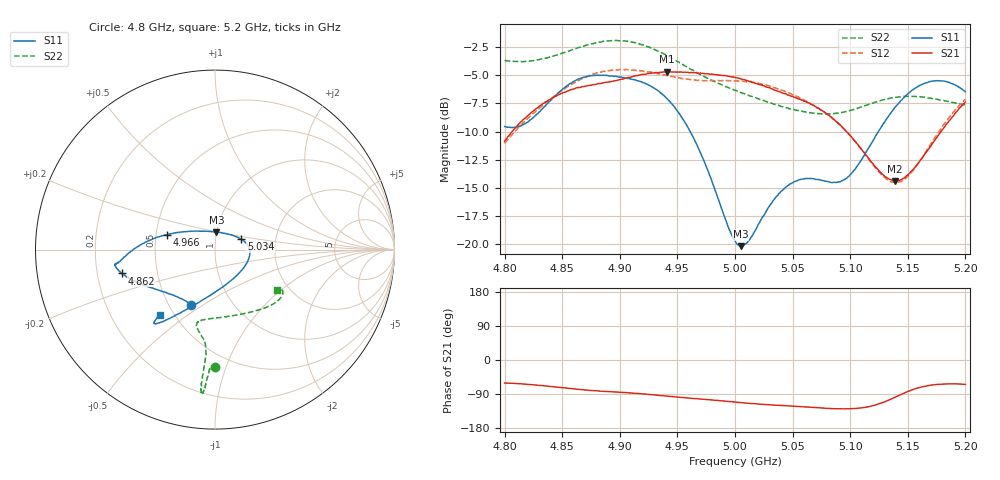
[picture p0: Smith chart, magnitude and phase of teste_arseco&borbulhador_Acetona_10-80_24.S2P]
! Network Analyzer HP8722D
! Hewlett-Packard
! Data name: Linha & Wilkinson
! Saver's name: Rodrigo Anjos
! Comments: Teste da utilização de aquisição
! continua pelo VNA HP8722D
! Time and date: 17/4/2025 14:33
!  Frequency  S11  S21  S12  S22
# HZ  S  MA R 50
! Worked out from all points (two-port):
!   401 points, 4.8 GHz to 5.2 GHz, reference 50 ohm
!   highest |S21| = -4.67 dB at 4.941 GHz (marker M1); lowest = -14.4 dB at 5.139 GHz (marker M2)
!   |S21| within 3 dB of the highest: 4.831 GHz to 5.068 GHz (237 MHz wide, 4.79 % of centre); 5.197188 GHz to end of sweep
!   lowest |S11| = -20.2 dB at 5.005 GHz (marker M3), VSWR 1.22, Z = 49.9 + j9.8 ohm
!   |S11| at or under -10 dB: 4.961 GHz to 5.125 GHz (163.3 MHz wide, 3.24 % of centre)
!   |S22| runs from -8.4 to -1.9 dB; largest |S21 - S12| = 0.87
!   S11 on the Smith chart (normalised r, x): 4.8 GHz: 0.65, -0.45; 4.862 GHz: 0.31, -0.11; 4.966 GHz: 0.57, +0.10; 5.034 GHz: 1.33, +0.16; 5.2 GHz: 0.42, -0.39
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4.8e9  0.3329 -113.2  0.2861 -60.8  0.2804 -175.1  0.6552 -89.9
4.819e9  0.3461 -133.1  0.3676 -63.9  0.3573 -173.5  0.6503 -91.5
4.862e9  0.5352 -165.6  0.4947 -76.9  0.5276 -176.7  0.7409 -93.8
4.867e9  0.5482 -167.5  0.501 -78.4  0.543 -177.7  0.755 -93.9
4.903e9  0.5499 -172.1  0.5415 -85.6  0.5977 175.1  0.8005 -95.5
4.934e9  0.4776 -178.0  0.5795 -93.5  0.5728 171.9  0.7167 -95.6
4.941e9  0.4431 178.9  0.5838 -95.3  0.5616 171.9  0.6901 -95.5
4.966e9  0.2819 162.9  0.5771 -101.9  0.5359 173.8  0.5824 -94.9
5e9  0.1034 102.6  0.5514 -111.0  0.5321 176.1  0.4827 -99.2
5.005e9  0.09769 85.2  0.5423 -112.3  0.5292 176.2  0.4714 -100.4
5.013e9  0.1049 59.5  0.5291 -114.6  0.5245 176.0  0.4549 -102.1
5.034e9  0.1578 21.5  0.4845 -119.0  0.4961 175.0  0.4186 -103.7
5.05e9  0.1873 5.3  0.4542 -121.8  0.4611 174.2  0.3975 -99.7
5.067e9  0.1954 -12.9  0.4159 -124.9  0.4186 173.7  0.3821 -91.0
5.086e9  0.1879 -42.9  0.3583 -128.5  0.3564 173.6  0.3802 -76.6
5.097e9  0.1959 -65.5  0.3152 -128.9  0.3143 174.6  0.3889 -67.5
5.134e9  0.375 -116.1  0.1941 -105.0  0.1908 -158.0  0.4444 -42.9
5.139e9  0.4059 -119.1  0.1908 -98.2  0.1883 -150.0  0.4493 -40.8
5.152e9  0.4743 -124.5  0.2076 -80.7  0.2047 -130.0  0.454 -36.1
5.17e9  0.5288 -128.6  0.2723 -66.4  0.2785 -112.6  0.4452 -31.9
5.184e9  0.5263 -129.9  0.3434 -63.1  0.3549 -107.2  0.4315 -30.9
5.2e9  0.4759 -130.4  0.4279 -64.3  0.4397 -106.3  0.4153 -33.2
